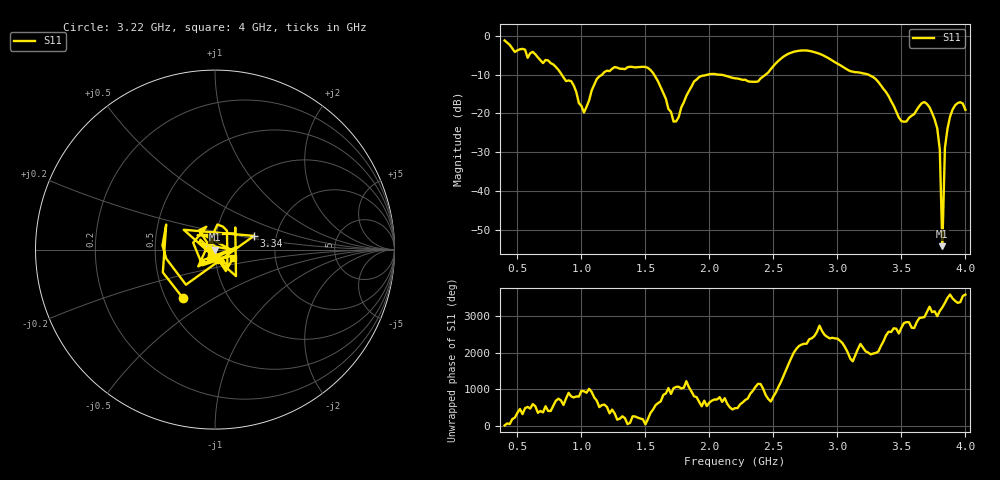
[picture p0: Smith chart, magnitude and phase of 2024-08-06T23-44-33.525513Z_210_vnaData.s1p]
!Created with skrf (http://scikit-rf.org).
# Hz S RI R 50.0
!freq ReS11 ImS11
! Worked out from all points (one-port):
!   181 points, 400 MHz to 4 GHz, reference 50 ohm
!   lowest |S11| = -54.2 dB at 3.82 GHz (marker M1), VSWR 1.00, Z = 50.2 - j0.0396 ohm
!   |S11| at or under -10 dB: 1.568 GHz to 1.987 GHz (419.7 MHz wide, 23.6 % of centre); 2.07 GHz to 2.44 GHz (369.5 MHz wide, 16.4 % of centre); 3.241 GHz to end of sweep (the widest 3 of 4)
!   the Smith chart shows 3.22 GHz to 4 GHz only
!   S11 on the Smith chart (normalised r, x): 3.22 GHz: 0.61, -0.37; 3.34 GHz: 1.53, +0.25; 4 GHz: 1.22, -0.11
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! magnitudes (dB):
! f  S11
! 400 MHz  -1.2
! 740 MHz  -6.3
! 860 MHz  -10.7
! 940 MHz  -12.8
! 1.02 GHz  -19.8
! 1.12 GHz  -11.1
! 1.3 GHz  -8.5
! 1.52 GHz  -8.3
! 1.6 GHz  -11.8
! 1.72 GHz  -22.1
! 1.76 GHz  -21.0
! 1.92 GHz  -10.6
! 2.2 GHz  -11.0
! 2.38 GHz  -11.8
! 2.66 GHz  -4.1
! 3.1 GHz  -9.1
! 3.22 GHz  -9.8
! 3.34 GHz  -12.8
! 3.5 GHz  -22.0
! 3.56 GHz  -21.1
! 3.68 GHz  -17.1
! 3.78 GHz  -23.8
! 3.8 GHz  -29.3
! 3.82 GHz  -54.2
! 3.84 GHz  -28.9
! 3.86 GHz  -24.0
! 3.92 GHz  -17.9
! 4 GHz  -19.1
